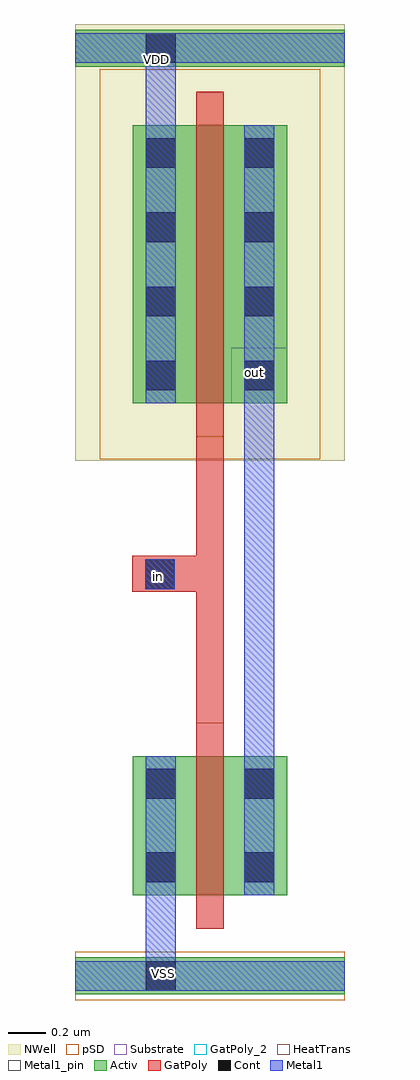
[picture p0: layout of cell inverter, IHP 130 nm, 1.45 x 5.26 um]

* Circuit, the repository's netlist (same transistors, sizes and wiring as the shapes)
* Extracted by KLayout with SG13G2 LVS runset on : 18/03/2026 16:31

.SUBCKT inverter
M$1 \$1 \$3 \$2 \$1 sg13_lv_nmos L=0.15u W=0.75u AS=0.255p AD=0.255p PS=2.18u
+ PD=2.18u
M$2 \$4 \$3 \$2 \$4 sg13_lv_pmos L=0.15u W=1.5u AS=0.51p AD=0.51p PS=3.68u
+ PD=3.68u
.ENDS inverter

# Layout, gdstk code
import gdstk
lib = gdstk.Library(unit=1e-6, precision=5e-09)
def R(c, l, rs):  # rectangles x0, y0, x1, y1
    for r in rs: c.add(gdstk.rectangle(r[:2], r[2:], *l))
def A(c, l, x, y, w, h, nx, ny, dx, dy):  # array of equal rectangles
    R(c, l, [(x+i*dx, y+j*dy, x+i*dx+w, y+j*dy+h) for i in range(nx) for j in range(ny)])
Activ = (1, 0)
GatPoly = (5, 0)
GatPoly_2 = (5, 2)
Cont = (6, 0)
Metal1 = (8, 0)
Metal1_pin = (8, 2)
pSD = (14, 0)
NWell = (31, 0)
Substrate = (40, 0)
HeatTrans = (51, 0)

nmos = lib.new_cell('nmos')
R(nmos, Activ, [(0,0,0.3,0.3), (0,0,0.83,0.75), (0.53,0,0.83,0.3)])
R(nmos, GatPoly, [(0.34,-0.18,0.49,0.93)])
R(nmos, GatPoly_2, [(0.34,-0.18,0.49,0.93)])
R(nmos, Cont, [(0.07,0.07,0.23,0.23), (0.6,0.07,0.76,0.23), (0.07,0.52,0.23,0.68), (0.6,0.52,0.76,0.68)])
R(nmos, Metal1, [(0.07,0,0.23,0.75), (0.6,0,0.76,0.75)])
R(nmos, Metal1_pin, [(0.07,0,0.23,0.75), (0.6,0,0.76,0.75)])
R(nmos, HeatTrans, [(0.34,-0.18,0.49,0.93)])
nmos.add(gdstk.Label('nmos', (0.415,0.375), layer=63, texttype=0))
nmos.add(gdstk.Label('nmos', (0.415,0.375), layer=51, texttype=0))

pmos_1 = lib.new_cell('pmos$1')
R(pmos_1, Activ, [(0,0,0.3,0.3), (0,0,0.83,1.5), (0.53,0,0.83,0.3)])
R(pmos_1, GatPoly, [(0.34,-0.18,0.49,1.68), (0.34,-0.18,0.49,1.68)])
A(pmos_1, Cont, 0.07, 0.07, 0.16, 0.16, 1, 4, 0, 0.4)
A(pmos_1, Cont, 0.6, 0.07, 0.16, 0.16, 1, 4, 0, 0.4)
R(pmos_1, Metal1, [(0.07,0,0.23,1.5), (0.07,0,0.23,1.5), (0.6,0,0.76,1.5), (0.6,0,0.76,1.5)])
R(pmos_1, pSD, [(-0.18,-0.3,1.01,1.8)])
R(pmos_1, NWell, [(-0.31,-0.31,1.14,1.81)])
R(pmos_1, Substrate, [(0.53,0,0.83,0.3)])
R(pmos_1, HeatTrans, [(0.34,-0.18,0.49,1.68)])
pmos_1.add(gdstk.Label('pmos', (0.415,0.75), layer=63, texttype=0))
pmos_1.add(gdstk.Label('pmos', (0.415,0.75), layer=51, texttype=0))

inverter = lib.new_cell('inverter')
R(inverter, Activ, [(-0.46,-0.1,0.99,0.1), (-0.46,4.9,0.99,5.1)])
R(inverter, GatPoly, [(0.19,1.365,0.34,2.965), (-0.155,2.07,0.145,2.265), (0.145,2.07,0.19,2.265)])
R(inverter, Cont, [(-0.08,-0.08,0.08,0.08), (-0.085,2.085,0.075,2.245), (-0.08,4.92,0.08,5.08)])
R(inverter, Metal1, [(-0.46,-0.08,0.99,0.08), (-0.08,-0.08,0.08,0.08), (-0.08,0.08,0.08,0.435), (0.45,0.96,0.61,3.37), (-0.085,2.085,0.075,2.245), (-0.08,4.585,0.08,4.92), (-0.46,4.92,-0.08,5.08), (-0.08,4.92,0.08,5.08), (0.08,4.92,0.99,5.08)])
R(inverter, Metal1_pin, [(-0.46,-0.08,0.99,0.08), (-0.08,-0.08,0.08,0.08), (-0.085,2.085,0.075,2.245), (0.45,3.155,0.61,3.315), (-0.46,4.92,0.99,5.08), (-0.08,4.92,0.08,5.08)])
R(inverter, pSD, [(-0.46,-0.13,0.99,0.13)])
R(inverter, NWell, [(-0.46,4.87,0.99,5.13)])
inverter.add(gdstk.Reference(nmos, (-0.15,0.435)))
inverter.add(gdstk.Reference(pmos_1, (-0.15,3.085)))
inverter.add(gdstk.Label('out', (0.505,3.25), layer=8, texttype=2))
inverter.add(gdstk.Label('VSS', (0.015,0.015), layer=8, texttype=2))
inverter.add(gdstk.Label('VDD', (-0.025,4.94), layer=8, texttype=2))
inverter.add(gdstk.Label('in', (-0.01,2.15), layer=8, texttype=2))

lib.write_gds('inverter.gds')
